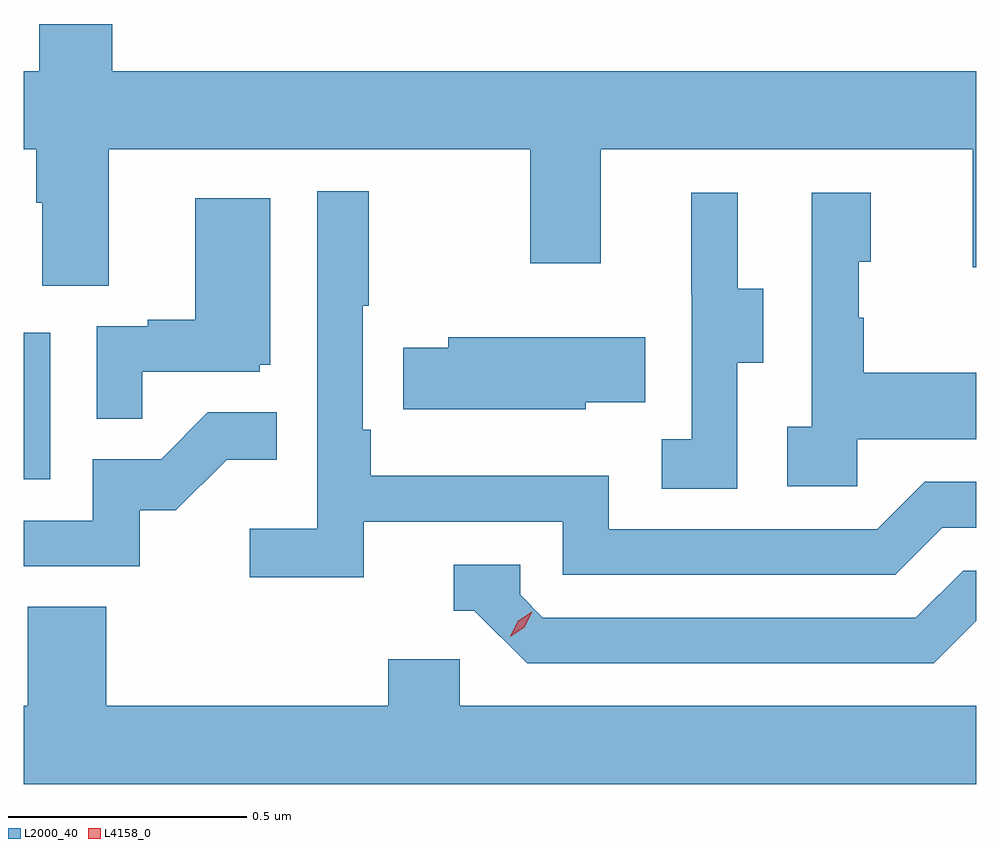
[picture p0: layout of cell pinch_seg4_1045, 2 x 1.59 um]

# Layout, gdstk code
import gdstk
lib = gdstk.Library(unit=1e-6, precision=1e-09)
def R(c, l, rs):  # rectangles x0, y0, x1, y1
    for r in rs: c.add(gdstk.rectangle(r[:2], r[2:], *l))
def P(c, l, *ps):  # polygons
    for p in ps: c.add(gdstk.Polygon(p, *l))
L2000_40 = (2000, 40)
L4158_0 = (4158, 0)

pinch_seg4_1045 = lib.new_cell('pinch_seg4_1045')
R(pinch_seg4_1045, L2000_40, [(792.578,773.484,792.634,773.791)])
P(pinch_seg4_1045, L2000_40, [(792.757,774.176),(793.642,774.176),(793.642,773.937),(793.789,773.937),(793.789,774.176),(794.57,774.176),(794.57,773.928),(794.578,773.928),(794.578,774.34),(792.764,774.34),(792.764,774.439),(792.611,774.439),(792.611,774.34),(792.578,774.34),(792.578,774.176),(792.605,774.176),(792.605,774.064),(792.617,774.064),(792.617,773.89),(792.757,773.89)],
  [(793.292,773.394),(793.71,773.394),(793.71,773.283),(794.407,773.283),(794.506,773.382),(794.578,773.382),(794.578,773.478),(794.469,773.478),(794.37,773.379),(793.806,773.379),(793.806,773.491),(793.307,773.491),(793.307,773.587),(793.29,773.587),(793.29,773.848),(793.303,773.848),(793.303,774.088),(793.194,774.088),(793.194,773.38),(793.053,773.38),(793.053,773.278),(793.292,773.278)],
  [(794.328,773.567),(794.578,773.567),(794.578,773.707),(794.341,773.707),(794.341,773.822),(794.331,773.822),(794.331,773.94),(794.356,773.94),(794.356,774.085),(794.232,774.085),(794.232,773.594),(794.181,773.594),(794.181,773.469),(794.328,773.469)],
  [(794.076,773.728),(794.131,773.728),(794.131,773.883),(794.077,773.883),(794.077,774.085),(793.979,774.085),(793.979,773.871),(793.98,773.871),(793.98,773.567),(793.917,773.567),(793.917,773.464),(794.076,773.464)],
  [(792.827,773.709),(793.074,773.709),(793.074,773.724),(793.096,773.724),(793.096,774.073),(792.938,774.073),(792.938,773.818),(792.839,773.818),(792.839,773.805),(792.732,773.805),(792.732,773.611),(792.827,773.611)],
  [(793.758,773.645),(793.883,773.645),(793.883,773.782),(793.469,773.782),(793.469,773.76),(793.375,773.76),(793.375,773.631),(793.486,773.631),(793.486,773.63),(793.758,773.63)],
  [(792.822,773.418),(792.898,773.418),(793.005,773.525),(793.109,773.525),(793.109,773.624),(792.965,773.624),(792.867,773.526),(792.723,773.526),(792.723,773.397),(792.578,773.397),(792.578,773.301),(792.822,773.301)],
  [(794.578,773.187),(794.578,773.292),(794.55,773.292),(794.451,773.193),(793.668,773.193),(793.62,773.241),(793.62,773.304),(793.481,773.304),(793.481,773.208),(793.524,773.208),(793.635,773.097),(794.488,773.097)],
  [(794.578,773.008),(793.494,773.008),(793.494,773.106),(793.343,773.106),(793.343,773.008),(792.752,773.008),(792.752,773.216),(792.587,773.216),(792.587,773.008),(792.578,773.008),(792.578,772.844),(794.578,772.844)])
P(pinch_seg4_1045, L4158_0, [(793.599,773.153),(793.599,773.154),(793.615,773.186),(793.645,773.206),(793.646,773.206),(793.646,773.205),(793.629,773.173),(793.599,773.153)])

lib.write_gds('pinch_seg4_1045.gds')
